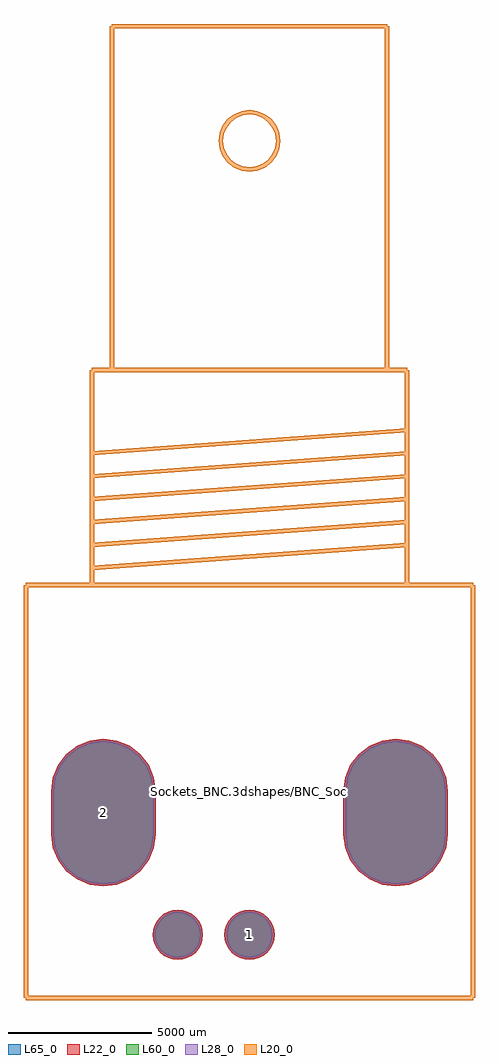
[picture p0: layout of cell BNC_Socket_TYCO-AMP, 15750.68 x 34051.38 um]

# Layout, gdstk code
import gdstk
lib = gdstk.Library(unit=1e-6, precision=1e-09)
def P(c, l, *ps):  # polygons
    for p in ps: c.add(gdstk.Polygon(p, *l))
L20_0 = (20, 0)
L22_0 = (22, 0)
L28_0 = (28, 0)
L60_0 = (60, 0)
L65_0 = (65, 0)

bnc_socket_tyco_amp = lib.new_cell('BNC_Socket_TYCO-AMP')
P(bnc_socket_tyco_amp, L22_0, [(-1624.26,-5001.26),(-1641.075,-4830.536),(-1690.873,-4666.374),(-1771.741,-4515.08),(-1880.571,-4382.471),(-2013.18,-4273.641),(-2164.474,-4192.773),(-2328.636,-4142.975),(-2499.36,-4126.16),(-2670.084,-4142.975),(-2834.246,-4192.773),(-2985.54,-4273.641),(-3118.149,-4382.471),(-3226.979,-4515.08),(-3307.847,-4666.374),(-3357.645,-4830.536),(-3374.46,-5001.26),(-3357.645,-5171.984),(-3307.847,-5336.146),(-3226.979,-5487.44),(-3118.149,-5620.049),(-2985.54,-5728.879),(-2834.246,-5809.747),(-2670.084,-5859.545),(-2499.36,-5876.36),(-2328.636,-5859.545),(-2164.474,-5809.747),(-2013.18,-5728.879),(-1880.571,-5620.049),(-1771.741,-5487.44),(-1690.873,-5336.146),(-1641.075,-5171.984)],
  [(875.1,-5001.26),(858.285,-4830.536),(808.487,-4666.374),(727.619,-4515.08),(618.789,-4382.471),(486.18,-4273.641),(334.886,-4192.773),(170.724,-4142.975),(0,-4126.16),(-170.724,-4142.975),(-334.886,-4192.773),(-486.18,-4273.641),(-618.789,-4382.471),(-727.619,-4515.08),(-808.487,-4666.374),(-858.285,-4830.536),(-875.1,-5001.26),(-858.285,-5171.984),(-808.487,-5336.146),(-727.619,-5487.44),(-618.789,-5620.049),(-486.18,-5728.879),(-334.886,-5809.747),(-170.724,-5859.545),(0,-5876.36),(170.724,-5859.545),(334.886,-5809.747),(486.18,-5728.879),(618.789,-5620.049),(727.619,-5487.44),(808.487,-5336.146),(858.285,-5171.984)],
  [(5100.32,-3312.23),(5572.68,-3250.043),(6012.85,-3067.718),(6390.832,-2777.682),(6680.868,-2399.7),(6863.193,-1959.53),(6925.38,-1487.17),(6925.38,13.97),(6863.193,486.33),(6680.868,926.5),(6390.832,1304.482),(6012.85,1594.518),(5572.68,1776.843),(5100.32,1839.03),(4627.96,1776.843),(4187.79,1594.518),(3809.808,1304.482),(3519.772,926.5),(3337.447,486.33),(3275.26,13.97),(3275.26,-1487.17),(3337.447,-1959.53),(3519.772,-2399.7),(3809.808,-2777.682),(4187.79,-3067.718),(4627.96,-3250.043)],
  [(-5097.78,-3312.23),(-4625.42,-3250.043),(-4185.25,-3067.718),(-3807.268,-2777.682),(-3517.232,-2399.7),(-3334.907,-1959.53),(-3272.72,-1487.17),(-3272.72,13.97),(-3334.907,486.33),(-3517.232,926.5),(-3807.268,1304.482),(-4185.25,1594.518),(-4625.42,1776.843),(-5097.78,1839.03),(-5570.14,1776.843),(-6010.31,1594.518),(-6388.292,1304.482),(-6678.328,926.5),(-6860.653,486.33),(-6922.84,13.97),(-6922.84,-1487.17),(-6860.653,-1959.53),(-6678.328,-2399.7),(-6388.292,-2777.682),(-6010.31,-3067.718),(-5570.14,-3250.043)])
P(bnc_socket_tyco_amp, L28_0, [(-1699.26,-5001.26),(-1714.634,-4845.168),(-1760.164,-4695.075),(-1834.101,-4556.748),(-1933.604,-4435.504),(-2054.848,-4336.001),(-2193.175,-4262.064),(-2343.268,-4216.534),(-2499.36,-4201.16),(-2655.452,-4216.534),(-2805.545,-4262.064),(-2943.872,-4336.001),(-3065.116,-4435.504),(-3164.619,-4556.748),(-3238.556,-4695.075),(-3284.086,-4845.168),(-3299.46,-5001.26),(-3284.086,-5157.352),(-3238.556,-5307.445),(-3164.619,-5445.772),(-3065.116,-5567.016),(-2943.872,-5666.519),(-2805.545,-5740.456),(-2655.452,-5785.986),(-2499.36,-5801.36),(-2343.268,-5785.986),(-2193.175,-5740.456),(-2054.848,-5666.519),(-1933.604,-5567.016),(-1834.101,-5445.772),(-1760.164,-5307.445),(-1714.634,-5157.352)],
  [(800.1,-5001.26),(784.726,-4845.168),(739.196,-4695.075),(665.259,-4556.748),(565.756,-4435.504),(444.512,-4336.001),(306.185,-4262.064),(156.092,-4216.534),(0,-4201.16),(-156.092,-4216.534),(-306.185,-4262.064),(-444.512,-4336.001),(-565.756,-4435.504),(-665.259,-4556.748),(-739.196,-4695.075),(-784.726,-4845.168),(-800.1,-5001.26),(-784.726,-5157.352),(-739.196,-5307.445),(-665.259,-5445.772),(-565.756,-5567.016),(-444.512,-5666.519),(-306.185,-5740.456),(-156.092,-5785.986),(0,-5801.36),(156.092,-5785.986),(306.185,-5740.456),(444.512,-5666.519),(565.756,-5567.016),(665.259,-5445.772),(739.196,-5307.445),(784.726,-5157.352)],
  [(5100.32,-3237.23),(5553.269,-3177.598),(5975.35,-3002.766),(6337.799,-2724.649),(6615.916,-2362.2),(6790.748,-1940.119),(6850.38,-1487.17),(6850.38,13.97),(6790.748,466.919),(6615.916,889),(6337.799,1251.449),(5975.35,1529.566),(5553.269,1704.398),(5100.32,1764.03),(4647.371,1704.398),(4225.29,1529.566),(3862.841,1251.449),(3584.724,889),(3409.892,466.919),(3350.26,13.97),(3350.26,-1487.17),(3409.892,-1940.119),(3584.724,-2362.2),(3862.841,-2724.649),(4225.29,-3002.766),(4647.371,-3177.598)],
  [(-5097.78,-3237.23),(-4644.831,-3177.598),(-4222.75,-3002.766),(-3860.301,-2724.649),(-3582.184,-2362.2),(-3407.352,-1940.119),(-3347.72,-1487.17),(-3347.72,13.97),(-3407.352,466.919),(-3582.184,889),(-3860.301,1251.449),(-4222.75,1529.566),(-4644.831,1704.398),(-5097.78,1764.03),(-5550.729,1704.398),(-5972.81,1529.566),(-6335.259,1251.449),(-6613.376,889),(-6788.208,466.919),(-6847.84,13.97),(-6847.84,-1487.17),(-6788.208,-1940.119),(-6613.376,-2362.2),(-6335.259,-2724.649),(-5972.81,-3002.766),(-5550.729,-3177.598)])
P(bnc_socket_tyco_amp, L60_0, [(-1699.26,-5001.26),(-1714.634,-4845.168),(-1760.164,-4695.075),(-1834.101,-4556.748),(-1933.604,-4435.504),(-2054.848,-4336.001),(-2193.175,-4262.064),(-2343.268,-4216.534),(-2499.36,-4201.16),(-2655.452,-4216.534),(-2805.545,-4262.064),(-2943.872,-4336.001),(-3065.116,-4435.504),(-3164.619,-4556.748),(-3238.556,-4695.075),(-3284.086,-4845.168),(-3299.46,-5001.26),(-3284.086,-5157.352),(-3238.556,-5307.445),(-3164.619,-5445.772),(-3065.116,-5567.016),(-2943.872,-5666.519),(-2805.545,-5740.456),(-2655.452,-5785.986),(-2499.36,-5801.36),(-2343.268,-5785.986),(-2193.175,-5740.456),(-2054.848,-5666.519),(-1933.604,-5567.016),(-1834.101,-5445.772),(-1760.164,-5307.445),(-1714.634,-5157.352)],
  [(800.1,-5001.26),(784.726,-4845.168),(739.196,-4695.075),(665.259,-4556.748),(565.756,-4435.504),(444.512,-4336.001),(306.185,-4262.064),(156.092,-4216.534),(0,-4201.16),(-156.092,-4216.534),(-306.185,-4262.064),(-444.512,-4336.001),(-565.756,-4435.504),(-665.259,-4556.748),(-739.196,-4695.075),(-784.726,-4845.168),(-800.1,-5001.26),(-784.726,-5157.352),(-739.196,-5307.445),(-665.259,-5445.772),(-565.756,-5567.016),(-444.512,-5666.519),(-306.185,-5740.456),(-156.092,-5785.986),(0,-5801.36),(156.092,-5785.986),(306.185,-5740.456),(444.512,-5666.519),(565.756,-5567.016),(665.259,-5445.772),(739.196,-5307.445),(784.726,-5157.352)],
  [(5100.32,-3237.23),(5553.269,-3177.598),(5975.35,-3002.766),(6337.799,-2724.649),(6615.916,-2362.2),(6790.748,-1940.119),(6850.38,-1487.17),(6850.38,13.97),(6790.748,466.919),(6615.916,889),(6337.799,1251.449),(5975.35,1529.566),(5553.269,1704.398),(5100.32,1764.03),(4647.371,1704.398),(4225.29,1529.566),(3862.841,1251.449),(3584.724,889),(3409.892,466.919),(3350.26,13.97),(3350.26,-1487.17),(3409.892,-1940.119),(3584.724,-2362.2),(3862.841,-2724.649),(4225.29,-3002.766),(4647.371,-3177.598)],
  [(-5097.78,-3237.23),(-4644.831,-3177.598),(-4222.75,-3002.766),(-3860.301,-2724.649),(-3582.184,-2362.2),(-3407.352,-1940.119),(-3347.72,-1487.17),(-3347.72,13.97),(-3407.352,466.919),(-3582.184,889),(-3860.301,1251.449),(-4222.75,1529.566),(-4644.831,1704.398),(-5097.78,1764.03),(-5550.729,1704.398),(-5972.81,1529.566),(-6335.259,1251.449),(-6613.376,889),(-6788.208,466.919),(-6847.84,13.97),(-6847.84,-1487.17),(-6788.208,-1940.119),(-6613.376,-2362.2),(-6335.259,-2724.649),(-5972.81,-3002.766),(-5550.729,-3177.598)])
P(bnc_socket_tyco_amp, L65_0, [(-1624.26,-5001.26),(-1641.075,-4830.536),(-1690.873,-4666.374),(-1771.741,-4515.08),(-1880.571,-4382.471),(-2013.18,-4273.641),(-2164.474,-4192.773),(-2328.636,-4142.975),(-2499.36,-4126.16),(-2670.084,-4142.975),(-2834.246,-4192.773),(-2985.54,-4273.641),(-3118.149,-4382.471),(-3226.979,-4515.08),(-3307.847,-4666.374),(-3357.645,-4830.536),(-3374.46,-5001.26),(-3357.645,-5171.984),(-3307.847,-5336.146),(-3226.979,-5487.44),(-3118.149,-5620.049),(-2985.54,-5728.879),(-2834.246,-5809.747),(-2670.084,-5859.545),(-2499.36,-5876.36),(-2328.636,-5859.545),(-2164.474,-5809.747),(-2013.18,-5728.879),(-1880.571,-5620.049),(-1771.741,-5487.44),(-1690.873,-5336.146),(-1641.075,-5171.984)],
  [(875.1,-5001.26),(858.285,-4830.536),(808.487,-4666.374),(727.619,-4515.08),(618.789,-4382.471),(486.18,-4273.641),(334.886,-4192.773),(170.724,-4142.975),(0,-4126.16),(-170.724,-4142.975),(-334.886,-4192.773),(-486.18,-4273.641),(-618.789,-4382.471),(-727.619,-4515.08),(-808.487,-4666.374),(-858.285,-4830.536),(-875.1,-5001.26),(-858.285,-5171.984),(-808.487,-5336.146),(-727.619,-5487.44),(-618.789,-5620.049),(-486.18,-5728.879),(-334.886,-5809.747),(-170.724,-5859.545),(0,-5876.36),(170.724,-5859.545),(334.886,-5809.747),(486.18,-5728.879),(618.789,-5620.049),(727.619,-5487.44),(808.487,-5336.146),(858.285,-5171.984)],
  [(5100.32,-3312.23),(5572.68,-3250.043),(6012.85,-3067.718),(6390.832,-2777.682),(6680.868,-2399.7),(6863.193,-1959.53),(6925.38,-1487.17),(6925.38,13.97),(6863.193,486.33),(6680.868,926.5),(6390.832,1304.482),(6012.85,1594.518),(5572.68,1776.843),(5100.32,1839.03),(4627.96,1776.843),(4187.79,1594.518),(3809.808,1304.482),(3519.772,926.5),(3337.447,486.33),(3275.26,13.97),(3275.26,-1487.17),(3337.447,-1959.53),(3519.772,-2399.7),(3809.808,-2777.682),(4187.79,-3067.718),(4627.96,-3250.043)],
  [(-5097.78,-3312.23),(-4625.42,-3250.043),(-4185.25,-3067.718),(-3807.268,-2777.682),(-3517.232,-2399.7),(-3334.907,-1959.53),(-3272.72,-1487.17),(-3272.72,13.97),(-3334.907,486.33),(-3517.232,926.5),(-3807.268,1304.482),(-4185.25,1594.518),(-4625.42,1776.843),(-5097.78,1839.03),(-5570.14,1776.843),(-6010.31,1594.518),(-6388.292,1304.482),(-6678.328,926.5),(-6860.653,486.33),(-6922.84,13.97),(-6922.84,-1487.17),(-6860.653,-1959.53),(-6678.328,-2399.7),(-6388.292,-2777.682),(-6010.31,-3067.718),(-5570.14,-3250.043)])
bnc_socket_tyco_amp.add(gdstk.FlexPath([(-7800.34,7200.9),(-7800.34,-7200.9)], 149.998, ends="flush", simple_path=True, layer=20, datatype=0))  # L20_0
bnc_socket_tyco_amp.add(gdstk.FlexPath([(7800.34,7200.9),(-7800.34,7200.9)], 149.998, ends="flush", simple_path=True, layer=20, datatype=0))  # L20_0
bnc_socket_tyco_amp.add(gdstk.FlexPath([(7800.34,-7200.9),(7800.34,7200.9)], 149.998, ends="flush", simple_path=True, layer=20, datatype=0))  # L20_0
bnc_socket_tyco_amp.add(gdstk.FlexPath([(-7800.34,-7200.9),(7800.34,-7200.9)], 149.998, ends="flush", simple_path=True, layer=20, datatype=0))  # L20_0
bnc_socket_tyco_amp.add(gdstk.FlexPath([(-5499.1,14698.98),(-5499.1,7200.9)], 149.998, ends="flush", simple_path=True, layer=20, datatype=0))  # L20_0
bnc_socket_tyco_amp.add(gdstk.FlexPath([(5499.1,14698.98),(-5499.1,14698.98)], 149.998, ends="flush", simple_path=True, layer=20, datatype=0))  # L20_0
bnc_socket_tyco_amp.add(gdstk.FlexPath([(5499.1,7200.9),(5499.1,14698.98)], 149.998, ends="flush", simple_path=True, layer=20, datatype=0))  # L20_0
bnc_socket_tyco_amp.add(gdstk.FlexPath([(-4800.6,26700.48),(-4800.6,14698.98)], 149.998, ends="flush", simple_path=True, layer=20, datatype=0))  # L20_0
bnc_socket_tyco_amp.add(gdstk.FlexPath([(4800.6,26700.48),(-4800.6,26700.48)], 149.998, ends="flush", simple_path=True, layer=20, datatype=0))  # L20_0
bnc_socket_tyco_amp.add(gdstk.FlexPath([(4800.6,14698.98),(4800.6,26700.48)], 149.998, ends="flush", simple_path=True, layer=20, datatype=0))  # L20_0
bnc_socket_tyco_amp.add(gdstk.FlexPath([(1000.76,22699.98),(966.66,22958.996),(866.684,23200.36),(707.644,23407.624),(500.38,23566.664),(259.016,23666.64),(0,23700.74),(-259.016,23666.64),(-500.38,23566.664),(-707.644,23407.624),(-866.684,23200.36),(-966.66,22958.996),(-1000.76,22699.98),(-966.66,22440.964),(-866.684,22199.6),(-707.644,21992.336),(-500.38,21833.296),(-259.016,21733.32),(0,21699.22),(259.016,21733.32),(500.38,21833.296),(707.644,21992.336),(866.684,22199.6),(966.66,22440.964),(1000.76,22699.98)], 149.998, ends="flush", simple_path=True, layer=20, datatype=0))  # L20_0
bnc_socket_tyco_amp.add(gdstk.FlexPath([(-5499.1,7800.34),(5499.1,8600.44)], 149.998, ends="flush", simple_path=True, layer=20, datatype=0))  # L20_0
bnc_socket_tyco_amp.add(gdstk.FlexPath([(-5499.1,8600.44),(5499.1,9400.54)], 149.998, ends="flush", simple_path=True, layer=20, datatype=0))  # L20_0
bnc_socket_tyco_amp.add(gdstk.FlexPath([(-5499.1,9400.54),(5499.1,10200.64)], 149.998, ends="flush", simple_path=True, layer=20, datatype=0))  # L20_0
bnc_socket_tyco_amp.add(gdstk.FlexPath([(-5499.1,10200.64),(5499.1,11000.74)], 149.998, ends="flush", simple_path=True, layer=20, datatype=0))  # L20_0
bnc_socket_tyco_amp.add(gdstk.FlexPath([(-5499.1,11000.74),(5499.1,11800.84)], 149.998, ends="flush", simple_path=True, layer=20, datatype=0))  # L20_0
bnc_socket_tyco_amp.add(gdstk.FlexPath([(-5499.1,11800.84),(5499.1,12600.94)], 149.998, ends="flush", simple_path=True, layer=20, datatype=0))  # L20_0
bnc_socket_tyco_amp.add(gdstk.Label('Sockets_BNC.3dshapes/BNC_Socket_TYCO-AMP.wrl', (0,0), layer=12, texttype=0))
bnc_socket_tyco_amp.add(gdstk.Label('1', (0,-5001.26), layer=28, texttype=0))
bnc_socket_tyco_amp.add(gdstk.Label('2', (-5097.78,-736.6), layer=28, texttype=0))
bnc_socket_tyco_amp.add(gdstk.Label('type', (10899.14,9601.2), layer=9, texttype=0))
bnc_socket_tyco_amp.add(gdstk.Label('devicename', (508,-9652), layer=9, texttype=0))

lib.write_gds('BNC_Socket_TYCO-AMP.gds')
